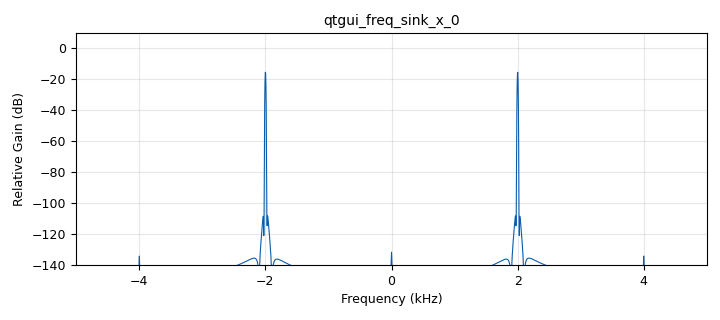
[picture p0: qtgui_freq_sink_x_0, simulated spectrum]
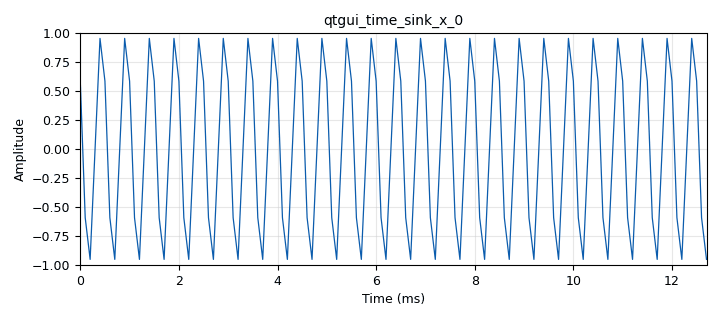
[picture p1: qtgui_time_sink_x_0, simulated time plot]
options:
  parameters:
    author: Elian_Rojas_J1B_G6
    generate_options: qt_gui
    id: Lab1_punto2_4
    output_language: python
    title: Lab1_Punto2_4
  states: {}

blocks:
- name: freq
  id: variable_qtgui_range
  parameters:
    label: Frequency
    start: '1000'
    step: '1000'
    stop: '40000'
    value: '2000'
  states: {}
- name: samp_rate
  id: variable_qtgui_range
  parameters:
    label: frecuencia de muestreo
    start: '1000'
    step: '1000'
    stop: '80000'
    value: '10000'
  states: {}
- name: analog_sig_source_x_1
  id: analog_sig_source_x
  parameters:
    amp: '1'
    freq: freq
    offset: '0'
    phase: '0'
    samp_rate: samp_rate
    type: float
    waveform: analog.GR_SIN_WAVE
  states: {}
- name: blocks_throttle_0
  id: blocks_throttle
  parameters:
    samples_per_second: samp_rate
    type: float
  states: {}
- name: qtgui_freq_sink_x_0
  id: qtgui_freq_sink_x
  parameters:
    bw: samp_rate
    fc: '0'
    fftsize: '2048'
    type: float
  states: {}
- name: qtgui_time_sink_x_0
  id: qtgui_time_sink_x
  parameters:
    size: '128'
    srate: samp_rate
    type: float
  states: {}

connections:
- [analog_sig_source_x_1, '0', blocks_throttle_0, '0']
- [blocks_throttle_0, '0', qtgui_freq_sink_x_0, '0']
- [blocks_throttle_0, '0', qtgui_time_sink_x_0, '0']

metadata:
  file_format: 1
